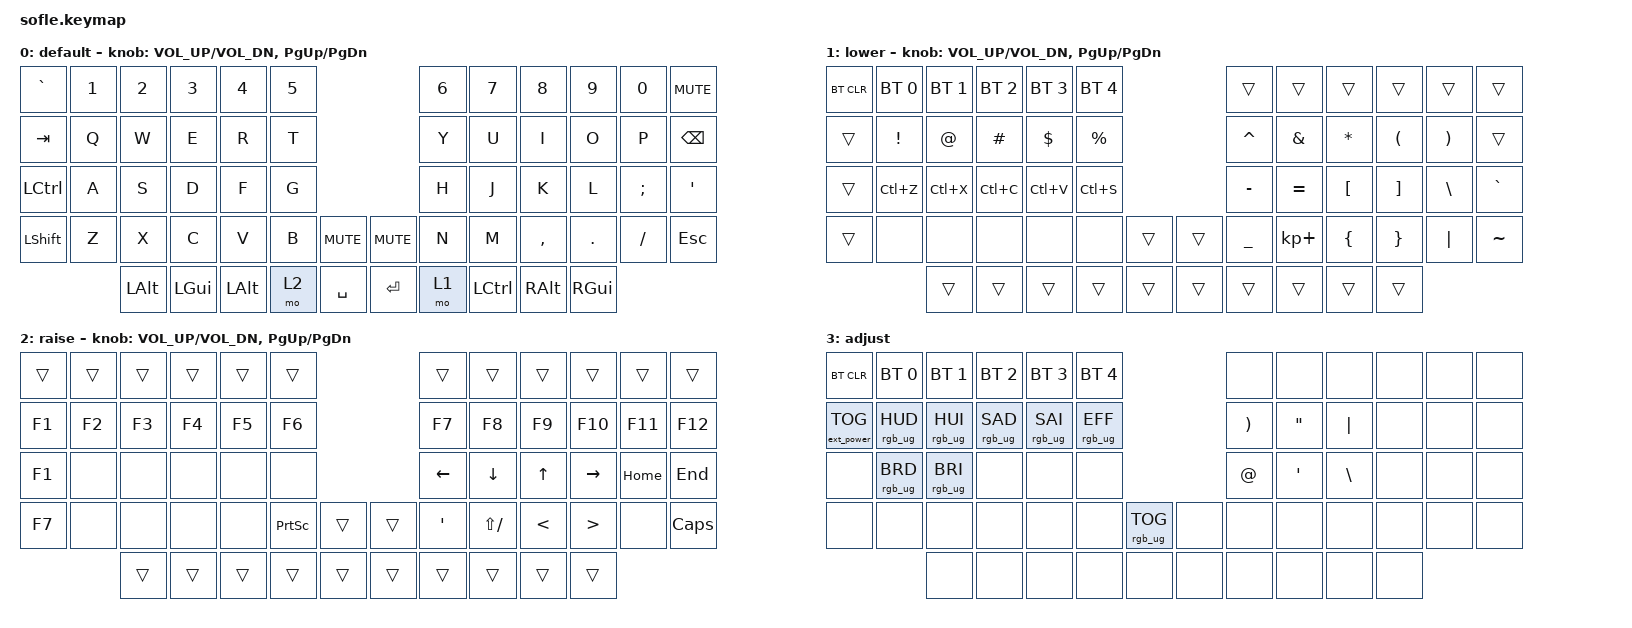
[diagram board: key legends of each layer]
#include <behaviors.dtsi>
#include <dt-bindings/zmk/keys.h>
#include <dt-bindings/zmk/bt.h>
#include <dt-bindings/zmk/rgb.h>
#include <dt-bindings/zmk/ext_power.h>

/ {
    keymap {
        compatible = "zmk,keymap";

        default_layer {
            display-name = "default";
            bindings = <
&kp GRAVE &kp N1 &kp N2   &kp N3   &kp N4    &kp N5                        &kp N6 &kp N7    &kp N8    &kp N9   &kp N0   &kp C_MUTE
&kp TAB   &kp Q  &kp W    &kp E    &kp R     &kp T                         &kp Y  &kp U     &kp I     &kp O    &kp P    &kp BACKSPACE
&kp LCTRL &kp A  &kp S    &kp D    &kp F     &kp G                         &kp H  &kp J     &kp K     &kp L    &kp SEMI &kp SQT
&kp LSHFT &kp Z  &kp X    &kp C    &kp V     &kp B &kp C_MUTE  &kp C_MUTE  &kp N  &kp M     &kp COMMA &kp DOT  &kp FSLH &kp ESC
                 &kp LALT &kp LGUI &kp LALT &mo 2  &kp SPACE   &kp RET     &mo 1  &kp LCTRL &kp RALT  &kp RGUI
            >;
            sensor-bindings = <&inc_dec_kp C_VOL_UP C_VOL_DN &inc_dec_kp PG_UP PG_DN>;
        };

        lower_layer {
            display-name = "lower";
            bindings = <
&bt BT_CLR  &bt BT_SEL 0  &bt BT_SEL 1  &bt BT_SEL 2  &bt BT_SEL 3  &bt BT_SEL 4                            &trans        &trans       &trans        &trans      &trans      &trans
&trans      &kp EXCL      &kp AT        &kp HASH      &kp DOLLAR    &kp PRCNT                               &kp CARET     &kp AMPS     &kp ASTRK     &kp LPAR    &kp RPAR    &trans  
&trans      &kp LC(Z)     &kp LC(X)     &kp LC(C)     &kp LC(V)     &kp LC(S)                               &kp MINUS     &kp EQUAL    &kp LBKT      &kp RBKT    &kp BSLH    &kp GRAVE
&trans      &none         &none         &none         &none         &none          &trans    &trans         &kp UNDER     &kp KP_PLUS  &kp LBRC      &kp RBRC    &kp PIPE    &kp TILDE
                    &trans    &trans      &trans    &trans     &trans &trans  &trans    &trans   &trans    &trans
            >;
            sensor-bindings = <&inc_dec_kp C_VOL_UP C_VOL_DN &inc_dec_kp PG_UP PG_DN>;
        };

        raise_layer {
            display-name = "raise";
            bindings = <
&trans      &trans          &trans      &trans      &trans    &trans                                  &trans       &trans        &trans           &trans    &trans      &trans
&kp F1      &kp F2          &kp F3      &kp F4      &kp F5    &kp F6                                  &kp F7       &kp F8        &kp F9           &kp F10   &kp F11     &kp F12
&kp F1      &none           &none       &none       &none     &none                                   &kp LEFT     &kp DOWN      &kp UP_ARROW     &kp RIGHT &kp HOME    &kp END
&kp F7      &none           &none       &none       &none     &kp PSCRN             &trans    &trans  &kp SQT      &kp LS(FSLH)  &kp LT           &kp GT    &none       &kp CLCK
                        &trans       &trans       &trans       &trans        &trans  &trans  &trans    &trans    &trans   &trans
            >;
            sensor-bindings = <&inc_dec_kp C_VOL_UP C_VOL_DN &inc_dec_kp PG_UP PG_DN>;
        };

        adjust_layer {
            display-name = "adjust";
            bindings = <
&bt BT_CLR        &bt BT_SEL 0    &bt BT_SEL 1    &bt BT_SEL 2    &bt BT_SEL 3    &bt BT_SEL 4                            &none &none &none &none &none &none
&ext_power EP_TOG &rgb_ug RGB_HUD &rgb_ug RGB_HUI &rgb_ug RGB_SAD &rgb_ug RGB_SAI &rgb_ug RGB_EFF                         &kp RIGHT_PARENTHESIS  &kp DOUBLE_QUOTES &kp PIPE &none &none &none
&none             &rgb_ug RGB_BRD &rgb_ug RGB_BRI &none           &none           &none                                   &kp AT                 &kp SINGLE_QUOTE  &kp BSLH &none &none &none
&none             &none           &none           &none           &none           &none            &rgb_ug RGB_TOG &none  &none &none &none &none &none &none
                                  &none           &none           &none           &none            &none           &none  &none &none &none &none
            >;
        };

    };
    conditional_layers {
        compatible = "zmk,conditional-layers";
        a3rdLayer {
            if-layers = <1 2>;
            then-layer = <3>;
        };
    };
};
